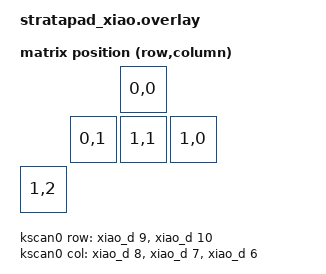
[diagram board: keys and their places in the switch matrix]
#include <dt-bindings/zmk/matrix_transform.h>

/ {
    chosen {
        zmk,kscan = &kscan0;
        zmk,matrix-transform = &default_transform;
    };

    kscan0: kscan_0 {
        compatible = "zmk,kscan-gpio-matrix";
        wakeup-source;
        diode-direction = "col2row";

        col-gpios
            = <&xiao_d 8 GPIO_ACTIVE_HIGH>
            , <&xiao_d 7 GPIO_ACTIVE_HIGH>
            , <&xiao_d 6 GPIO_ACTIVE_HIGH>
            ;
        row-gpios
            = <&xiao_d 9 GPIO_ACTIVE_HIGH>
            , <&xiao_d 10 GPIO_ACTIVE_HIGH>
            ;
    };

    default_transform: matrix_transform {
      compatible = "zmk,matrix-transform";
      rows = <3>;
      columns = <4>;
      
      map = <
                             RC(0,0)
                  RC(0,1)    RC(1,1)    RC(1,0)
        RC(1,2)
      >;
    };
};
